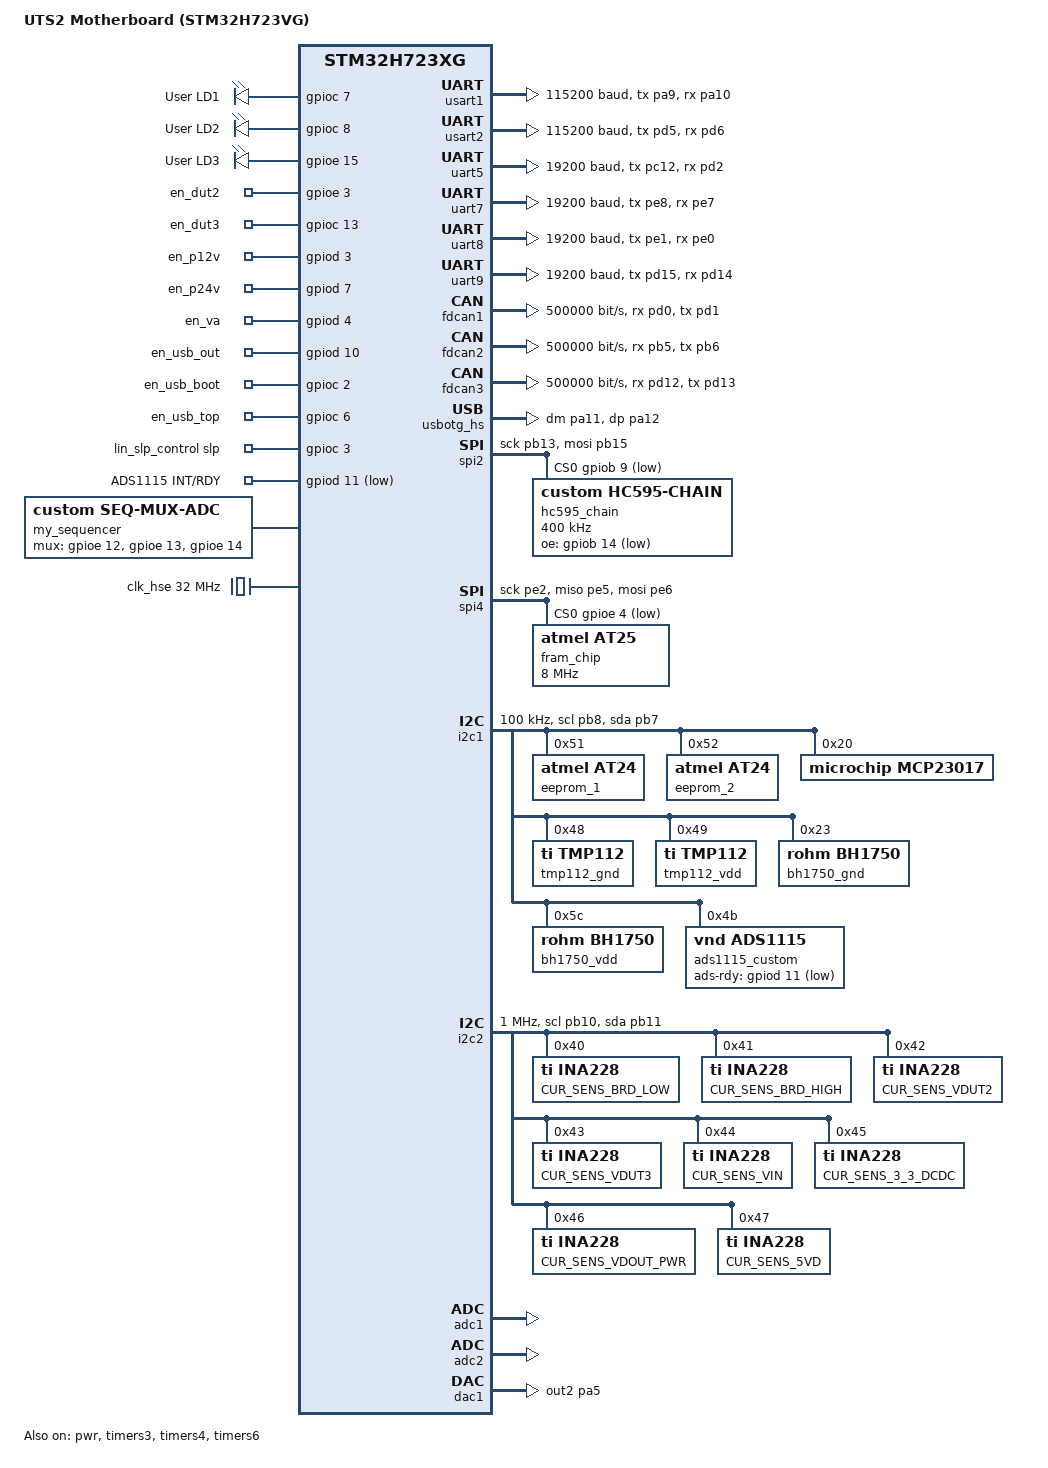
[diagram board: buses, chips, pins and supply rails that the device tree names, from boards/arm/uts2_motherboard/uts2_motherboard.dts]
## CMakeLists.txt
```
# SPDX-License-Identifier: Apache-2.0

cmake_minimum_required(VERSION 3.20.0)


list(APPEND DTS_ROOT ${CMAKE_CURRENT_SOURCE_DIR})

find_package(Zephyr REQUIRED HINTS $ENV{ZEPHYR_BASE})
project(uts2_work)

include(${ZEPHYR_BASE}/samples/subsys/usb/common/common.cmake)

target_compile_definitions(app PRIVATE 
    USE_FULL_ERROR_LIST=1
)

if(BOARD STREQUAL "uts2_motherboard")
    add_subdirectory(src/uts2)
elseif(BOARD STREQUAL "iglax_x2")
   # add_subdirectory(src/iglax2)
endif()

target_sources(app PRIVATE 
              
    src/main.c  
     ${APP_SOURCES} 
)
```

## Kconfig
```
# Copyright (c) 2023 Nordic Semiconductor ASA
# SPDX-License-Identifier: Apache-2.0

# Source common USB sample options used to initialize new experimental USB
# device stack. The scope of these options is limited to USB samples in project
# tree, you cannot use them in your own application.
source "samples/subsys/usb/common/Kconfig.sample_usbd"

source "Kconfig.zephyr"

source "$(APPLICATION_SOURCE_DIR)/drivers/seq_mux_adc/Kconfig"
```

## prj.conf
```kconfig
# ==============================================================================
# 1. ZBUS и K_POLL
# ==============================================================================
CONFIG_POLL=y
CONFIG_ZBUS=y
CONFIG_ZBUS_RUNTIME_OBSERVERS=y

CONFIG_GPIO=y
CONFIG_PINCTRL=y
CONFIG_PINCTRL_DYNAMIC=y
# ==============================================================================
# 8. ОТЛАДКА, МОНИТОРИНГ ПОТОКОВ И СТАТИСТИКА (Debug & Profiling)
# ==============================================================================
CONFIG_DEBUG_OPTIMIZATIONS=n
CONFIG_SPEED_OPTIMIZATIONS=y
CONFIG_DEBUG_THREAD_INFO=y
CONFIG_STACK_USAGE=y

CONFIG_THREAD_MONITOR=y             # Разрешает ядру отслеживать список потоков
CONFIG_THREAD_NAME=y                # Имена потоков
CONFIG_THREAD_RUNTIME_STATS=y       # Статистика реального времени
CONFIG_SCHED_THREAD_USAGE=y         # Подсчет времени работы потоков на CPU
CONFIG_SCHED_THREAD_USAGE_ALL=y     # Собирает общую загрузку системы
CONFIG_THREAD_NAME=y

CONFIG_HWINFO=y
```

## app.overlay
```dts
/*
 * Copyright (c) 2021 Nordic Semiconductor ASA
 *
 * SPDX-License-Identifier: Apache-2.0
 */
#include <zephyr/dt-bindings/adc/adc.h>
#include <zephyr/dt-bindings/dma/stm32_dma.h>
#include <zephyr/dt-bindings/pinctrl/stm32-pinctrl.h>
#include "src/board_define.h"

/ {
    chosen {
        zephyr,console = &cdc_acm_uart0;   /* ← Вот эта строка! */
        zephyr,shell-uart = &cdc_acm_uart1;
    };

     my_sequencer: my_sequencer {
        compatible = "custom,seq-mux-adc";
        
        /* 
         * Передаем ссылки на аппаратные блоки таймера и АЦП.
         * Это избавляет наш Си-код драйвера от хардкода.
         */
        adc-dev = <&adc3>;
        timer-dev = <&timers3>;

        /* 
         * Настройка каналов DMA:
         * 1. DMA1 Stream 0: Переключение пинов мультиплексора (Слот 27, TIM3_UP)
         * 2. DMA1 Stream 1: Опрос АЦП3 в циклическом режиме по кругу (Слот 115, ADC3)
         */
        dmas = <&dmamux1 0 23 0>,
               <&dmamux1 1 115 0>;
        dma-names = "seq_dma", "adc_dma";

        /* Ссылка на аппаратный pinctrl управляющих пинов */
        mux-gpios = <&gpiob 0 GPIO_ACTIVE_HIGH>,
                    <&gpiob 13 GPIO_ACTIVE_HIGH>,
                    <&gpiob 14 GPIO_ACTIVE_HIGH>;

        adc-duration-us = <10000>;     /* T1: время АЦП */
        switch-duration-us = <10000>;  /* T2: время переключения */ 

        status = "okay";
    };
};

&zephyr_udc0 {
    cdc_acm_uart0: cdc_acm_uart0 {
        compatible = "zephyr,cdc-acm-uart";
        label = "СDC Console";
    };
	
    cdc_acm_uart1: cdc_acm_uart1 {
        compatible = "zephyr,cdc-acm-uart";
        label = "CDC_ACM_1";
    };
   

};

&pinctrl {
    /* Создаем отдельный узел для каждого пина */
    mux1_adc_vsense: mux1_adc_vsense {
        pinmux = <STM32_PINMUX(MUX1_ADC_VSENSE_PORT, MUX1_ADC_VSENSE_PIN, ANALOG)>;
    };
    mux2_adc_vsense: mux2_adc_vsense {
        pinmux = <STM32_PINMUX(MUX2_ADC_VSENSE_PORT, MUX2_ADC_VSENSE_PIN, ANALOG)>;
    };
    mux3_adc_vsense: mux3_adc_vsense {
        pinmux = <STM32_PINMUX(MUX3_ADC_VSENSE_PORT, MUX3_ADC_VSENSE_PIN, ANALOG)>;
    };
    mux4_adc_vsense: mux4_adc_vsense {
        pinmux = <STM32_PINMUX(MUX4_ADC_VSENSE_PORT, MUX4_ADC_VSENSE_PIN, ANALOG)>;
    };
    mux5_adc_vsense: mux5_adc_vsense {
        pinmux = <STM32_PINMUX(MUX5_ADC_VSENSE_PORT, MUX5_ADC_VSENSE_PIN, ANALOG)>;
    };
};


/* Ссылка на таймер и его дочерний счетчик раскрывается автоматически */
&SEQ_TIMER_NODELABEL {
    status = "okay";
    st,prescaler = <10000>; 
    counter {
        status = "okay";
    };
};

&gpiob {
    status = "okay";
};

/* Включаем АЦП3 в дереве устройств */
&adc3 {
    status = "okay";
    pinctrl-0 = <&mux1_adc_vsense &mux2_adc_vsense &mux3_adc_vsense &mux4_adc_vsense &mux5_adc_vsense>;
    pinctrl-names = "default";
};

&dma1 {
    status = "okay";
};

&dmamux1 {
    status = "okay";
};

&sram4  {
    status = "okay";
};
&i2c1 {
    status = "okay";
    clock-frequency = <400000>; /* 400 kHz (Fast Mode) */

    CUR_SENS_BRD_LOW: ina228@40 {
        compatible = "ti,ina228";
        reg = <0x40>;
        current-lsb-microamps = <10>;
        rshunt-micro-ohms = <50000>;      /* Закрыто корректно: <50000> */
        status = "okay";
    };

    CUR_SENS_BRD_HIGH: ina228@41 {
        compatible = "ti,ina228";
        reg = <0x41>;
        current-lsb-microamps = <10>;
        rshunt-micro-ohms = <50000>;
        status = "okay";
    };

    CUR_SENS_VDUT2: ina228@42 {
        compatible = "ti,ina228";
        reg = <0x42>;
        rshunt-micro-ohms = <500000>;
        current-lsb-microamps = <1>;
        status = "okay";
    };

    CUR_SENS_VDUT3: ina228@43 {
        compatible = "ti,ina228";
        reg = <0x43>;
        rshunt-micro-ohms = <500000>;
        current-lsb-microamps = <1>;
        status = "okay";
    };

    CUR_SENS_VIN: ina228@44 {
        compatible = "ti,ina228";
        reg = <0x44>;
        current-lsb-microamps = <10>;
        rshunt-micro-ohms = <50000>;
        status = "okay";
    };

    CUR_SENS_3_3_DCDC: ina228@45 {
        compatible = "ti,ina228";
        reg = <0x45>;
        current-lsb-microamps = <10>;
        rshunt-micro-ohms = <50000>;
        status = "okay";
    };

    CUR_SENS_VDOUT_PWR: ina228@46 {
        compatible = "ti,ina228";
        reg = <0x46>;                     /* Исправлено совпадение адресов (было 0x45) */
        current-lsb-microamps = <10>;
        rshunt-micro-ohms = <50000>;
        status = "okay";
    };

    CUR_SENS_5VD: ina228@47 {
        compatible = "ti,ina228";
        reg = <0x47>;
        current-lsb-microamps = <10>;
        rshunt-micro-ohms = <50000>;
        status = "okay";
    };
};

&spi1 {
    status = "okay";
    pinctrl-0 = <&spi1_sck_pa5 &spi1_mosi_pa7>;
    pinctrl-names = "default";
    cs-gpios = <&gpioa 4 GPIO_ACTIVE_LOW>;      // Пин защелки Latch (ST_CP)

    hc595_chain: hc595-chain@0 {
        compatible = "vnd,spi-device"; // стандартный виртуальный SPI-узел Zephyr
        reg = <0>;
        spi-max-frequency = <10000000>;
    };
};
/ {
    /* zephyr,user — это стандартный узел для разрозненных пользовательских GPIO [1] */
    zephyr,user {
        oe-gpios = <&gpioa 3 GPIO_ACTIVE_LOW>;
    };
};
```

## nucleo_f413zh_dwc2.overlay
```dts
/*
 * Copyright (c) 2023 Nordic Semiconductor ASA
 *
 * SPDX-License-Identifier: Apache-2.0
 */

/delete-node/ &zephyr_udc0;

/ {
	soc {
		dwc2_fsotg0: usb@50000000 {
			compatible = "st,stm32f4-fsotg", "snps,dwc2";
			reg = <0x50000000 0x40000>;
			interrupts = <67 0>;
			interrupt-names = "fsotg";
			clocks = <&rcc STM32_CLOCK_BUS_AHB2 0x00000080>,
				 <&rcc STM32_SRC_PLL_Q NO_SEL>;
			num-out-eps = <6>;
			num-in-eps = <6>;
			ghwcfg1 = <0x00000000>;
			ghwcfg2 = <0x229ed520>;
			ghwcfg4 = <0x17f08030>;
			status = "disabled";
		};
	};
};

zephyr_udc0: &dwc2_fsotg0 {
	pinctrl-0 = <&usb_otg_fs_dm_pa11 &usb_otg_fs_dp_pa12>;
	pinctrl-names = "default";
	status = "okay";

	cdc_acm_uart0 {
		compatible = "zephyr,cdc-acm-uart";
	};
};

/ {
    chosen {
        zephyr,console = &cdc_acm_uart0;
    };
};
```

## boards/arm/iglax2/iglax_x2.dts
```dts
/*
 * Copyright (c) 2020 Thomas Stranger
 *
 * SPDX-License-Identifier: Apache-2.0
 */

/dts-v1/;
#include <st/f4/stm32f413Xg.dtsi>
#include <st/f4/stm32f413v(g-h)tx-pinctrl.dtsi>
#include <zephyr/dt-bindings/input/input-event-codes.h>

/ {
	model = "STMicroelectronics STM32F413VG board";
	compatible = "st,igla-x2";

	chosen {	
		zephyr,sram = &sram0;
		zephyr,flash = &flash0;
	};

	transistor_inputs: transistor-inputs {
		compatible = "gpio-keys";
		status = "okay";

		gray_in: gray_in {
			gpios = <&gpioe 4 (GPIO_ACTIVE_LOW | GPIO_PULL_UP)>;
			label = "Transistor Input 1";
		};

		ign_in: ign_in {
			gpios = <&gpioe 14 (GPIO_ACTIVE_LOW | GPIO_PULL_UP)>;
			label = "Transistor Input 1";
		};

		in_ch3: in_ch3 {
			gpios = <&gpioe 12 (GPIO_ACTIVE_LOW | GPIO_PULL_UP)>;
			label = "Transistor Input 2";
		};

		in_ch4: in_ch4 {
			gpios = <&gpioe 13 (GPIO_ACTIVE_LOW | GPIO_PULL_UP)>;
			label = "Transistor Input 2";
		};
	};

	dout_contorl: dout_contorl {
		compatible = "gpio-leds";

		od1: od1 {
			gpios = <&gpioe 15 GPIO_ACTIVE_HIGH>;
		};
		od2: od2 {
			gpios = <&gpiod 13 GPIO_ACTIVE_HIGH>;
		};
		od3: od3 {
			gpios = <&gpiod 15 GPIO_ACTIVE_HIGH>;
		};
		od4: od4 {
			gpios = <&gpiod 14 GPIO_ACTIVE_HIGH>;
		};
		od5: od5 {
			gpios = <&gpioe 6 GPIO_ACTIVE_HIGH>;
		};
		od6: od6 {
			gpios = <&gpiob 6 GPIO_ACTIVE_HIGH>;
		};
		od7: od7 {
			gpios = <&gpiod 7 GPIO_ACTIVE_HIGH>;
		};
		od8: od8 {
			gpios = <&gpiod 6 GPIO_ACTIVE_HIGH>;
		};
		od9: od9 {
			gpios = <&gpioe 5 GPIO_ACTIVE_HIGH>;
		};
		od10: od10 {
			gpios = <&gpioa 4 GPIO_ACTIVE_HIGH>;
		};
		od11: od11 {
			gpios = <&gpioa 5 GPIO_ACTIVE_HIGH>;
		};
		pd_on_in3: pd_on_in3 {
			gpios = <&gpioe 8 GPIO_ACTIVE_HIGH>;
		};
		pd_on_in4: pd_on_in4 {
			gpios = <&gpioe 9 GPIO_ACTIVE_HIGH>;
		};
		out_gate: out_gate {
			gpios = <&gpioe 7 GPIO_ACTIVE_HIGH>;
		};
		lin1_pullup: lin1_pullup {
			gpios = <&gpioe 0 GPIO_ACTIVE_HIGH>;
		};
		lin2_pullup: lin2_pullup {
			gpios = <&gpioe 1 GPIO_ACTIVE_HIGH>;
		};
		lin_sleep: lin_sleep {
			gpios = <&gpioe 2 GPIO_ACTIVE_HIGH>;
		};
		lin_break: lin_break {
			gpios = <&gpioe 3 GPIO_ACTIVE_HIGH>;
		};
		can1_stb: can1_stb {
			gpios = <&gpiod 4 GPIO_ACTIVE_HIGH>;
		};
		can2_stb: can2_stb {
			gpios = <&gpiod 0 GPIO_ACTIVE_HIGH>;
		};
		can3_stb: can3_stb {
			gpios = <&gpioe 11 GPIO_ACTIVE_HIGH>;
		};
	};
};

&clk_hsi {
	status = "okay";
};

/* 1. Настройка внешнего кварца (HSE) */
&clk_hse {
	clock-frequency = <DT_FREQ_M(16)>;
	status = "okay";
};

/* 2. Конфигурация главного умножителя частоты (PLL) */
&pll {
	div-m = <8>;
	mul-n = <72>;
	div-p = <2>;
	div-q = <3>;
	clocks = <&clk_hsi>;
	status = "okay";
};

/* 3. Конфигурация системных шин в блоке RCC */
&rcc {
	clocks = <&pll>;
	clock-frequency = <DT_FREQ_M(72)>;
	ahb-prescaler = <1>;
	apb1-prescaler = <2>;
	apb2-prescaler = <1>;
};

&clk48 {
	status = "okay";
};

&iwdg {
	status = "disabled";
};

/* Привязываем стандартную метку нового USB-стека к аппаратному контроллеру */
zephyr_udc0: &usbotg_fs {
    status = "okay";
    pinctrl-0 = <&usb_otg_fs_dm_pa11 &usb_otg_fs_dp_pa12>;
    pinctrl-names = "default";

    /* Определяем виртуальный UART для CDC ACM внутри контроллера */
    cdc_acm_uart0: cdc_acm_uart0 {
        compatible = "zephyr,cdc-acm-uart";
        label = "CDC_ACM_0";
    };
};

&spi2 {
    status = "okay";
    /* Настраиваем пины: SCK (PA5), MISO (PA6), MOSI (PA7) */
    pinctrl-0 = <&spi2_sck_pb10 &spi2_miso_pb14 &spi2_mosi_pb15>;
    pinctrl-names = "default";
    
    /* PA4 используем как программный выбор кристалла CS (Chip Select) */
    cs-gpios = <&gpiob 12 GPIO_ACTIVE_LOW>;

    lis3dh: lis3dh@0 {
        compatible = "st,lis2dh"; /* Zephyr управляет LIS3DH через драйвер LIS2DH */
        reg = <0>;
        spi-max-frequency = <10000000>; /* Максимальная частота SPI для датчика (10 МГц) */
        
        /* Указываем пин прерывания INT1 на PD2 */
        irq-gpios = <&gpioa 15 GPIO_ACTIVE_HIGH>; 
        label = "LIS3DH";
    };
};
```

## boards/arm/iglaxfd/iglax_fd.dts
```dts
/*
 * Copyright (c) 2020 Thomas Stranger
 *
 * SPDX-License-Identifier: Apache-2.0
 */

/dts-v1/;
#include <st/g0/stm32g0b1Xe.dtsi>
#include <st/g0/stm32g0b1r(b-c-e)tx-pinctrl.dtsi>
#include <zephyr/dt-bindings/input/input-event-codes.h>



/ {
		model = "IGLA_X2 (STM32F413)";
	compatible = "st,igla_x2";

	chosen {
		zephyr,console = &usart2;
		zephyr,shell-uart = &usart2;
		zephyr,uart-mcumgr = &usart2;
		zephyr,sram = &sram0;
		zephyr,flash = &flash0;
		zephyr,canbus = &fdcan1;
	};

	my_custom_inputs {
		/* Вход 1: Статический GND (PC13) */
		din_1 {
			compatible = "zephyr,discrete-input";
			gpios = <&gpioc 13 GPIO_ACTIVE_LOW>;
			input-type = "active-high";
			param-id = "din1";
			param-cfg-id = "din1_config";
		};

		/* Вход 2: Статический VDD (PC14) */
		din_2 {
			compatible = "zephyr,discrete-input";
			gpios = <&gpioc 14 GPIO_ACTIVE_LOW>;
			input-type = "active-high";
			param-id = "din2";
			param-cfg-id = "din2_config";
		};

		/* Вход 3: Динамический (PC15), управляемый пином PD3 */
		din_3 {
			compatible = "zephyr,discrete-input";
			gpios = <&gpioc 15 0>;
			input-type = "configurable-low";
			ctrl-gpios = <&gpiod 3 GPIO_ACTIVE_LOW>;
			param-id = "din3";
			param-cfg-id = "din3_config";
		};
	};

	my_custom_outputs {
		dout_1 {
			compatible = "zephyr,discrete-output";
			gpios = <&gpiob 5 GPIO_ACTIVE_HIGH>;
			param-id = "dout1";
		};
		dout_2 {
			compatible = "zephyr,discrete-output";
			gpios = <&gpiob 6 GPIO_ACTIVE_HIGH>;
			param-id = "dout2";
		};
		dout_3 {
			compatible = "zephyr,discrete-output";
			gpios = <&gpiob 7 GPIO_ACTIVE_HIGH>;
			param-id = "dout3";
		};
	};

	/* Виртуальный шлюз-мост для CAN-каналов */
	my_can_instances {
		can_1 {
			compatible = "zephyr,can-instance";
			can-dev = <&fdcan1>;
			stb-gpios = <&gpioa 15 GPIO_ACTIVE_LOW>;
			param-tx-id = "can1_tx_frame";
			param-rx-id = "can1_rx_frame";
			param-status-id = "can1_status";
			param-ctrl-id = "can1_ctrl";
			param-filter-id = "can1_filter";
			param-stb-id = "can1_stb";
		};

		can_2 {
			compatible = "zephyr,can-instance";
			can-dev = <&fdcan2>;
			stb-gpios = <&gpiob 0 GPIO_ACTIVE_LOW>;
			param-tx-id = "can2_tx_frame";
			param-rx-id = "can2_rx_frame";
			param-status-id = "can2_status";
			param-ctrl-id = "can2_ctrl";
			param-filter-id = "can2_filter";
			param-stb-id = "can2_stb";
		};
	};
};

/* 1. Настройка внешнего кварца (HSE = 16 МГц) */
&clk_hse {
	clock-frequency = <DT_FREQ_M(16)>;
	status = "okay";
};

/* 2. Конфигурация главного умножителя частоты (PLL) */
&pll {
	clocks = <&clk_hse>;
	/* f(VCO) = 16 МГц / 2 * 16 = 128 МГц */
	div-m = <2>;
	mul-n = <16>;
	div-r = <2>; /* PLLR (SYSCLK) = 128 / 2 = 64 МГц */
	div-q = <2>; /* PLLQ (FDCAN)  = 128 / 2 = 64 МГц */
	div-p = <2>; /* PLLP          = 128 / 2 = 64 МГц */
	status = "okay";
};

/* 3. Конфигурация системных шин в блоке RCC */
&rcc {
	clocks = <&pll>;
	clock-frequency = <DT_FREQ_M(64)>;
	ahb-prescaler = <1>;
	apb1-prescaler = <1>;
};

/* 4. Включаем USART2 для консоли и шелла (проверьте ваши пины!) */
&usart2 {
	pinctrl-0 = <&usart2_tx_pa2 &usart2_rx_pa3>;
	pinctrl-names = "default";
	current-speed = <115200>;
	status = "okay";
};

&iwdg {
	status = "disabled";
};

&timers3 {
	st,prescaler = <10000>;
	status = "okay";

	pwm3: pwm {
		status = "okay";
		pinctrl-0 = <&tim3_ch1_pb4>;
		pinctrl-names = "default";
	};
};

&timers15 {
	st,prescaler = <10000>;
	status = "okay";

	pwm15: pwm {
		status = "okay";
		pinctrl-0 = <&tim15_ch1_pb14>;
		pinctrl-names = "default";
	};
};

&spi1 {
	status = "okay";
	/* SCK (PA1), MISO (PA6), MOSI (PA7), CS (PA4) */
	pinctrl-0 = <&spi1_sck_pa1 &spi1_miso_pa6 &spi1_mosi_pa7>;
	pinctrl-names = "default";
	cs-gpios = <&gpioa 4 GPIO_ACTIVE_LOW>;

	lis3dh: lis3dh@0 {
		compatible = "st,lis2dh";
		reg = <0>;
		spi-max-frequency = <10000000>;
		irq-gpios = <&gpiod 2 GPIO_ACTIVE_HIGH>;
		label = "LIS3DH";
	};
};

&adc1 {
	status = "okay";
	pinctrl-0 = <&adc1_in9_pb1>;
	pinctrl-names = "default";
};

&die_temp {
	status = "okay";
};

&fdcan1 {
	status = "okay";
	pinctrl-0 = <&fdcan1_rx_pd0 &fdcan1_tx_pd1>;
	pinctrl-names = "default";
	bitrate = <500000>;
	clocks = <&rcc STM32_CLOCK_BUS_APB1 0x00001000>,
		 <&rcc STM32_SRC_PLL_Q FDCAN_SEL(1)>;
};

&fdcan2 {
	status = "okay";
	pinctrl-0 = <&fdcan2_rx_pb12 &fdcan2_tx_pb13>;
	pinctrl-names = "default";
	bitrate = <500000>;
	clocks = <&rcc STM32_CLOCK_BUS_APB1 0x00001000>,
		 <&rcc STM32_SRC_PLL_Q FDCAN_SEL(1)>;
};









&flash0 {
	partitions {
		compatible = "fixed-partitions";
		#address-cells = <1>;
		#size-cells = <1>;

		boot_partition: partition@0 {
			label = "mcuboot";
			reg = <0x00000000 DT_SIZE_K(48)>;
			read-only;
		};

		slot0_partition: partition@c000 {
			label = "image-0";
			reg = <0x0000c000 DT_SIZE_K(200)>;
		};

		slot1_partition: partition@3e000 {
			label = "image-1";
			reg = <0x0003e000 DT_SIZE_K(200)>;
		};

		/* final 64KiB reserved for app storage partition */
		storage_partition: partition@70000 {
			label = "storage";
			reg = <0x00070000 DT_SIZE_K(64)>;
		};
	};
};



&vref {
	status = "okay";
};

&vbat {
	status = "okay";
};
```

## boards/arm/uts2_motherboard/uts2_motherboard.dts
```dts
/*
 * Copyright (c) 2020 Alexander Kozhinov <ak.alexander.kozhinov@gmail.com>
 * SPDX-License-Identifier: Apache-2.0
 */

/dts-v1/;
#include <st/h7/stm32h723Xg.dtsi>
#include <st/h7/stm32h723vgtx-pinctrl.dtsi>

/*
 * WARNING:
 * JP6 and SB72 must be ON when using Ethernet.
 */

/ {
	model = "UTS2 Motherboard (STM32H723VG)";
	compatible = "st,uts2-motherboard";

	chosen {
		zephyr,console = &usart1;
		/* zephyr,shell-uart = &usart1; */
		zephyr,dtcm = &dtcm;
		zephyr,sram = &sram0;
		zephyr,flash = &flash0;	
		zephyr,code-partition = &flash0;
	};

	aliases {
		led0 = &green_led;
		led1 = &yellow_led;
		led2 = &red_led;
		uart-detect = &usart2;
		fram0 = &fram_chip;
		dac-timer = &timers6;
		adsint = &ads_int_pin;
	};

	/* Светодиоды индикации платы */
	leds: leds {
		compatible = "gpio-leds";

		green_led: led_0 {
			gpios = <&gpioc 7 GPIO_ACTIVE_HIGH>;
			label = "User LD1";
		};

		yellow_led: led_1 {
			gpios = <&gpioc 8 GPIO_ACTIVE_HIGH>;
			label = "User LD2";
		};

		red_led: led_2 {
			gpios = <&gpioe 15 GPIO_ACTIVE_HIGH>;
			label = "User LD3";
		};
	};

	/* Управление ключами питания нагрузки и интерфейсов */
	enable_control_switch: enable_control_switch {
		compatible = "gpio-leds";

		/* Пин включения питания метки №1 */
		en_dut2: en_1 {
			gpios = <&gpioe 3 GPIO_ACTIVE_HIGH>;
		};
		/* Пин включения питания метки №2 */
		en_dut3: en_2 {
			gpios = <&gpioc 13 GPIO_ACTIVE_HIGH>;
		};
		/* Пин включения питания +12В */
		en_p12v: en_3 {
			gpios = <&gpiod 3 GPIO_ACTIVE_HIGH>;
		};
		/* Пин включения питания +24В */
		en_p24v: en_4 {
			gpios = <&gpiod 7 GPIO_ACTIVE_HIGH>;
		};
		/* Пин питания аналоговых буферов */
		en_va: en_5 {
			gpios = <&gpiod 4 GPIO_ACTIVE_HIGH>;
		};
		/* Пин питания интерфейсной платы USB */
		en_usb_out: en_6 {
			gpios = <&gpiod 10 GPIO_ACTIVE_HIGH>;
		};
		/* Пин питания верхней части разъема USB */
		en_usb_boot: en_7 {
			gpios = <&gpioc 2 GPIO_ACTIVE_HIGH>;
		};
		/* Пин питания нижней части разъема USB */
		en_usb_top: en_8 {
			gpios = <&gpioc 6 GPIO_ACTIVE_HIGH>;
		};
	};

	/* Пин перевода трансиверов LIN в рабочий режим (Wakeup) */
	lin_slp_control {
		compatible = "zephyr,user";
		slp-gpios = <&gpioc 3 GPIO_ACTIVE_HIGH>;
	};

	/* Внешнее прерывание RDY от АЦП ADS1115 */
	ads_interrupt_node {
		compatible = "gpio-keys";
		ads_int_pin: ads_int_pin {
			gpios = <&gpiod 11 (GPIO_ACTIVE_LOW | GPIO_PULL_UP)>;
			label = "ADS1115 INT/RDY";
		};
	};

	/* Кастомный драйвер фонового сбора АЦП2 через таймер TIM4 */
	scan_adc: scan_adc {
		compatible = "custom,scan-cont-adc";
		adc-dev = <&adc2>;
		timer-dev = <&timers4>;
		channel-count = <8>;
		dmas = <&dmamux1 2 10 0>;
		dma-names = "adc_dma";
		adc-duration-us = <1000>;
		status = "okay";
	};

	/* Кастомный драйвер секвенсора мультиплексора на АЦП1 через таймер TIM3 */
	my_sequencer: my_sequencer {
		compatible = "custom,seq-mux-adc";
		adc-dev = <&adc1>;
		timer-dev = <&timers3>;
		dmas = <&dmamux1 0 23 0>,
		       <&dmamux1 1 9  0>;
		dma-names = "seq_dma", "adc_dma";
		mux-gpios = <&gpioe 12 GPIO_ACTIVE_HIGH>,
		            <&gpioe 13 GPIO_ACTIVE_HIGH>,
		            <&gpioe 14 GPIO_ACTIVE_HIGH>;
		adc-duration-us = <60>;
		switch-duration-us = <60>;
		status = "okay";
	};
};

/* ====================================================================
 *  ПИТАНИЕ И ТАКТИРОВАНИЕ (384 МГц от HSE 32 МГц)
 * ==================================================================== */

&pwr {
	power-supply = "ldo";
	status = "okay";
};

&clk_hse {
	clock-frequency = <32000000>; /* 32 MHz */
	status = "okay";
	/* hse-bypass; */
};

&clk_hsi {
	hsi-div = <1>;
	status = "okay";
};

&clk_hsi48 {
	status = "okay";
};

&clk_lsi {
	status = "okay";
};

&clk_lse {
	status = "disabled";
};

&pll {
	div-m = <2>;
	mul-n = <48>;
	div-p = <2>;
	div-q = <8>;
	div-r = <2>;
	fracn = <0>;
	clocks = <&clk_hse>;
	status = "okay";
};

&pll2 {
	div-m = <2>;
	mul-n = <12>;
	div-p = <2>;
	div-q = <2>;
	div-r = <2>;
	clocks = <&clk_hse>;
	status = "okay";
};

&rcc {
	clocks = <&pll>;
	clock-frequency = <384000000>;
	d1cpre = <1>;  /* CPU:  384 MHz */
	hpre = <2>;    /* HCLK: 192 MHz */
	d1ppre = <2>;  /* APB3: 96 MHz */
	d2ppre1 = <2>; /* APB1: 96 MHz */
	d2ppre2 = <2>; /* APB2: 96 MHz */
	d3ppre = <2>;  /* APB4: 96 MHz */
};

/* ====================================================================
 *  ПОРТЫ GPIO, ПАМЯТЬ И СИСТЕМНЫЙ DMA
 * ==================================================================== */

&gpioa { status = "okay"; };
&gpiob { status = "okay"; };
&gpioc { status = "okay"; };
&gpiod { status = "okay"; };
&gpioe { status = "okay"; };

&dma1        { status = "okay"; };
&dmamux1     { status = "okay"; };
&sram4       { status = "okay"; };
&backup_sram { status = "okay"; };

/* ====================================================================
 *  АППАРАТНЫЙ PINCTRL ДЛЯ ПЕРИФЕРИИ
 * ==================================================================== */

&pinctrl {
	/* Аналоговые входы мультиплексора */
	mux1_adc_vsense: mux1_adc_vsense {
		pinmux = <STM32_PINMUX('A', 0, ANALOG)>;
	};
	mux2_adc_vsense: mux2_adc_vsense {
		pinmux = <STM32_PINMUX('A', 1, ANALOG)>;
	};
	mux3_adc_vsense: mux3_adc_vsense {
		pinmux = <STM32_PINMUX('A', 2, ANALOG)>;
	};
	mux4_adc_vsense: mux4_adc_vsense {
		pinmux = <STM32_PINMUX('A', 3, ANALOG)>;
	};
	mux5_adc_vsense: mux5_adc_vsense {
		pinmux = <STM32_PINMUX('A', 4, ANALOG)>;
	};

	/* USART1 (Консоль отладки) */
	usart1_tx_pa9: usart1_tx_pa9 {
		pinmux = <STM32_PINMUX('A', 9, AF7)>;
		bias-pull-up;
	};
	usart1_rx_pa10: usart1_rx_pa10 {
		pinmux = <STM32_PINMUX('A', 10, AF7)>;
	};

	/* SPI4 (Память FRAM на порту E) */
	spi4_sck_pe2: spi4_sck_pe2 {
		pinmux = <STM32_PINMUX('E', 2, AF5)>;
		bias-pull-down;
	};
	spi4_miso_pe5: spi4_miso_pe5 {
		pinmux = <STM32_PINMUX('E', 5, AF5)>;
		bias-pull-down;
	};
	spi4_mosi_pe6: spi4_mosi_pe6 {
		pinmux = <STM32_PINMUX('E', 6, AF5)>;
		bias-pull-down;
	};
};

/* Подтягивающие резисторы для шин I2C */
&i2c1_scl_pb8  { drive-open-drain; bias-pull-up; };
&i2c1_sda_pb7  { drive-open-drain; bias-pull-up; };
&i2c2_scl_pb10 { drive-open-drain; bias-pull-up; };
&i2c2_sda_pb11 { drive-open-drain; bias-pull-up; };

/* ====================================================================
 *  ИНТЕРФЕЙСЫ СВЯЗИ: UART
 * ==================================================================== */

&usart1 {
	pinctrl-0 = <&usart1_tx_pa9 &usart1_rx_pa10>;
	pinctrl-names = "default";
	current-speed = <115200>;
	tx-rx-swap;
	status = "okay";
};

uart_detect: &usart2 {
	pinctrl-0 = <&usart2_tx_pd5 &usart2_rx_pd6>;
	pinctrl-names = "default";
	current-speed = <115200>;
	status = "okay";
};

&uart5 {
	current-speed = <19200>;
	pinctrl-0 = <&uart5_tx_pc12 &uart5_rx_pd2>;
	pinctrl-names = "default";
	status = "okay";
};

&uart7 {
	current-speed = <19200>;
	pinctrl-0 = <&uart7_tx_pe8 &uart7_rx_pe7>;
	pinctrl-names = "default";
	status = "okay";
};

&uart8 {
	current-speed = <19200>;
	pinctrl-0 = <&uart8_tx_pe1 &uart8_rx_pe0>;
	pinctrl-names = "default";
	status = "okay";
};

&uart9 {
	current-speed = <19200>;
	pinctrl-0 = <&uart9_tx_pd15 &uart9_rx_pd14>;
	pinctrl-names = "default";
	status = "okay";
};

/* ====================================================================
 *  ИНТЕРФЕЙСЫ СВЯЗИ: FDCAN
 * ==================================================================== */

&fdcan1 {
	pinctrl-0 = <&fdcan1_rx_pd0 &fdcan1_tx_pd1>;
	pinctrl-names = "default";
	bitrate = <500000>;
	status = "okay";
};

&fdcan2 {
	pinctrl-0 = <&fdcan2_rx_pb5 &fdcan2_tx_pb6>;
	pinctrl-names = "default";
	bitrate = <500000>;
	status = "okay";
};

&fdcan3 {
	pinctrl-0 = <&fdcan3_rx_pd12 &fdcan3_tx_pd13>;
	pinctrl-names = "default";
	bitrate = <500000>;
	status = "okay";
};

/* ====================================================================
 *  ИНТЕРФЕЙС USB (CDC ACM)
 * ==================================================================== */

zephyr_udc0: &usbotg_hs {
	pinctrl-0 = <&usb_otg_hs_dm_pa11 &usb_otg_hs_dp_pa12>;
	pinctrl-names = "default";
	/delete-property/ vbus-gpios;
	status = "okay";

	cdc_acm_uart0: cdc_acm_uart0 {
		compatible = "zephyr,cdc-acm-uart";
	};
};

/* ====================================================================
 *  ИНТЕРФЕЙСЫ SPI
 * ==================================================================== */

&spi2 {
	pinctrl-0 = <&spi2_sck_pb13 &spi2_mosi_pb15>;
	pinctrl-names = "default";
	cs-gpios = <&gpiob 9 GPIO_ACTIVE_LOW>;
	status = "okay";

	hc595_chain: hc595-chain@0 {
		compatible = "custom,hc595-chain";
		reg = <0>;
		spi-max-frequency = <400000>;
		chain-length = <5>;
		oe-gpios = <&gpiob 14 GPIO_ACTIVE_LOW>;
	};
};

&spi4 {
	pinctrl-0 = <&spi4_sck_pe2 &spi4_miso_pe5 &spi4_mosi_pe6>;
	pinctrl-names = "default";
	cs-gpios = <&gpioe 4 GPIO_ACTIVE_LOW>;
	status = "okay";

	fram_chip: mb85rs64@0 {
		compatible = "atmel,at25";
		reg = <0>;
		spi-max-frequency = <8000000>;
		size = <8192>;
		pagesize = <1>;
		address-width = <16>;
		timeout = <5>;
	};
};

/* ====================================================================
 *  ИНТЕРФЕЙСЫ I2C
 * ==================================================================== */

&i2c1 {
	pinctrl-0 = <&i2c1_scl_pb8 &i2c1_sda_pb7>;
	pinctrl-names = "default";
	scl-gpios = <&gpiob 8 (GPIO_ACTIVE_HIGH | GPIO_OPEN_DRAIN)>;
	sda-gpios = <&gpiob 7 (GPIO_ACTIVE_HIGH | GPIO_OPEN_DRAIN)>;
	clock-frequency = <I2C_BITRATE_STANDARD>;
	status = "okay";

	eeprom_1: eeprom@51 {
		compatible = "atmel,at24";
		reg = <0x51>;
		size = <256>;
		pagesize = <16>;
		address-width = <8>;
		timeout = <10>;
		status = "okay";
	};

	eeprom_2: eeprom@52 {
		compatible = "atmel,at24";
		reg = <0x52>;
		size = <256>;
		pagesize = <16>;
		address-width = <8>;
		timeout = <10>;
		status = "okay";
	};

	mcp23017: mcp23017@20 {
		compatible = "microchip,mcp23017";
		reg = <0x20>;
		status = "okay";
		gpio-controller;
		#gpio-cells = <2>;
		ngpios = <16>;
	};

	tmp112_gnd: tmp112@48 {
		compatible = "ti,tmp112";
		reg = <0x48>;
		status = "okay";
	};

	tmp112_vdd: tmp112@49 {
		compatible = "ti,tmp112";
		reg = <0x49>;
		status = "okay";
	};

	bh1750_gnd: bh1750@23 {
		compatible = "rohm,bh1750";
		reg = <0x23>;
		status = "okay";
	};

	bh1750_vdd: bh1750@5c {
		compatible = "rohm,bh1750";
		reg = <0x5c>;
		status = "okay";
	};

	ads1115_custom: ads1115@4b {
		compatible = "vnd,ads1115";
		reg = <0x4b>;
		status = "okay";
		ads-sps = <16>;
		ads-rdy = <&gpiod 11 (GPIO_ACTIVE_LOW | GPIO_PULL_UP)>;
	};
};

&i2c2 {
	pinctrl-0 = <&i2c2_scl_pb10 &i2c2_sda_pb11>;
	pinctrl-names = "default";
	scl-gpios = <&gpiob 10 (GPIO_ACTIVE_HIGH | GPIO_OPEN_DRAIN)>;
	sda-gpios = <&gpiob 11 (GPIO_ACTIVE_HIGH | GPIO_OPEN_DRAIN)>;
	clock-frequency = <I2C_BITRATE_FAST_PLUS>;
	status = "okay";

	timings = <96000000 I2C_BITRATE_STANDARD  0x20D09BEE>,
	          <96000000 I2C_BITRATE_FAST      0x00A0329E>,
	          <96000000 I2C_BITRATE_FAST_PLUS 0x00501043>,
	          <120000000 I2C_BITRATE_STANDARD  0x20F091E5>,
	          <120000000 I2C_BITRATE_FAST      0x00C03DC6>,
	          <120000000 I2C_BITRATE_FAST_PLUS 0x00601453>,
	          <137500000 I2C_BITRATE_STANDARD  0x30C082CE>,
	          <137500000 I2C_BITRATE_FAST      0x00E047E3>,
	          <137500000 I2C_BITRATE_FAST_PLUS 0x00701760>;

	CUR_SENS_BRD_LOW: ina228@40 {
		compatible = "ti,ina228";
		reg = <0x40>;
		current-lsb-microamps = <10>;
		rshunt-micro-ohms = <50000>;
		adc-mode = "Bus and shunt voltage continuous";
		vbus-conversion-time-us = <280>;
		vshunt-conversion-time-us = <280>;
		avg-count = <1>;
		status = "okay";
	};

	CUR_SENS_BRD_HIGH: ina228@41 {
		compatible = "ti,ina228";
		reg = <0x41>;
		current-lsb-microamps = <10>;
		rshunt-micro-ohms = <50000>;
		adc-mode = "Bus and shunt voltage continuous";
		vbus-conversion-time-us = <280>;
		vshunt-conversion-time-us = <280>;
		avg-count = <1>;
		status = "okay";
	};

	CUR_SENS_VDUT2: ina228@42 {
		compatible = "ti,ina228";
		reg = <0x42>;
		rshunt-micro-ohms = <500000>;
		current-lsb-microamps = <1>;
		adc-mode = "Bus and shunt voltage continuous";
		vbus-conversion-time-us = <280>;
		vshunt-conversion-time-us = <280>;
		avg-count = <1>;
		status = "okay";
	};

	CUR_SENS_VDUT3: ina228@43 {
		compatible = "ti,ina228";
		reg = <0x43>;
		rshunt-micro-ohms = <500000>;
		current-lsb-microamps = <1>;
		adc-mode = "Bus and shunt voltage continuous";
		vbus-conversion-time-us = <280>;
		vshunt-conversion-time-us = <280>;
		avg-count = <1>;
		status = "okay";
	};

	CUR_SENS_VIN: ina228@44 {
		compatible = "ti,ina228";
		reg = <0x44>;
		current-lsb-microamps = <10>;
		rshunt-micro-ohms = <50000>;
		adc-mode = "Bus and shunt voltage continuous";
		vbus-conversion-time-us = <280>;
		vshunt-conversion-time-us = <280>;
		avg-count = <1>;
		status = "okay";
	};

	CUR_SENS_3_3_DCDC: ina228@45 {
		compatible = "ti,ina228";
		reg = <0x45>;
		current-lsb-microamps = <1>;
		rshunt-micro-ohms = <50000>;
		adc-mode = "Bus and shunt voltage continuous";
		vbus-conversion-time-us = <280>;
		vshunt-conversion-time-us = <280>;
		avg-count = <1>;
		status = "okay";
	};

	CUR_SENS_VDOUT_PWR: ina228@46 {
		compatible = "ti,ina228";
		reg = <0x46>;
		current-lsb-microamps = <10>;
		rshunt-micro-ohms = <50000>;
		adc-mode = "Bus and shunt voltage continuous";
		vbus-conversion-time-us = <280>;
		vshunt-conversion-time-us = <280>;
		avg-count = <1>;
		status = "okay";
	};

	CUR_SENS_5VD: ina228@47 {
		compatible = "ti,ina228";
		reg = <0x47>;
		current-lsb-microamps = <10>;
		rshunt-micro-ohms = <50000>;
		adc-mode = "Bus and shunt voltage continuous";
		vbus-conversion-time-us = <280>;
		vshunt-conversion-time-us = <280>;
		avg-count = <1>;
		status = "okay";
	};
};

/* ====================================================================
 *  ТАЙМЕРЫ И АНАЛОГОВАЯ ПЕРИФЕРИЯ (ADC / DAC)
 * ==================================================================== */

&adc1 { status = "okay"; };
&adc2 { status = "okay"; };

&timers3 {
	st,prescaler = <10000>;
	status = "okay";
	counter { status = "okay"; };
};

&timers4 {
	st,prescaler = <10000>;
	status = "okay";
	counter { status = "okay"; };
};

&timers6 {
	status = "okay";
};

&dac1 {
	pinctrl-0 = <&dac1_out2_pa5>;
	pinctrl-names = "default";
	status = "okay";
};
```

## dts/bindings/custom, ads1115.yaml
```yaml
description: Custom ADS1115 ADC driver with interrupt and SPS configuration
compatible: "vnd,ads1115"

# Наследуем базовые правила I2C-устройства
include: [i2c-device.yaml]

properties:
  reg:
    required: true
  ads-rdy:
    type: phandle-array
    required: true
    description: Ready/Interrupt GPIO pin
    specifier-space: gpio
  ads-sps:
    type: int
    required: true
    description: Samples per second
```

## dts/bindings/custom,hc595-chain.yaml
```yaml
description: Custom 74HC595 cascaded chain driver

compatible: "custom,hc595-chain"

include: spi-device.yaml

properties:
  chain-length:
    type: int
    required: true
    description: Number of cascaded 74HC595 shift registers in the chain (e.g. 5)

  oe-gpios:
    type: phandle-array
    required: false
    description: GPIO specifier for the OE (Output Enable) pin (active low).
```

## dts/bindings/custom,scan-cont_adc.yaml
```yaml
description: Custom STM32 Timer-triggered DMA-GPIO-ADC Sequencer Driver

compatible: "custom,scan-cont-adc"

# Используем максимально надежный вертикальный формат списков для импорта
include:
  - base.yaml
  - pinctrl-device.yaml

properties:
  adc-dev:
    type: phandle
    required: true

  timer-dev:
    type: phandle
    required: true
     
  adc-duration-us:
    type: int
    required: true


  channel-count:
    type: int
    required: true
```

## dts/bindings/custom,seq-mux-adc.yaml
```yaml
description: Custom STM32 Timer-triggered DMA-GPIO-ADC Sequencer Driver

compatible: "custom,seq-mux-adc"

# Используем максимально надежный вертикальный формат списков для импорта
include:
  - base.yaml
  - pinctrl-device.yaml

properties:
  adc-dev:
    type: phandle
    required: true

  timer-dev:
    type: phandle
    required: true

  mux-gpios:
    type: phandle-array
    required: true
    description: GPIO specifiers for the 3 multiplexer address lines.
     
  adc-duration-us:
    type: int
    required: true

  switch-duration-us:
    type: int
    required: true
```

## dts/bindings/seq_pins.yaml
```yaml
description: Custom Sequencer Pins Device
compatible: "seq-pins"
include: [base.yaml, pinctrl-device.yaml] 
```

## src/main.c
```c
/*
 * Copyright (c) 2016 Intel Corporation
 *
 * SPDX-License-Identifier: Apache-2.0
 */


int main(void)
{


	return 0;
}
```

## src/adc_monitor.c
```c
#include <zephyr/kernel.h>
#include <zephyr/logging/log.h>
#include "param_server.h"

/* Подключаем наш общий Zbus заголовок */
#include "system_data_bus.h"

LOG_MODULE_REGISTER(adc_mon, LOG_LEVEL_INF);

/* 
 * ОПРЕДЕЛЯЕМ ПОДПИСЧИКА.
 * Это создаст очередь сообщений для нашего монитора.
 */
static const uint8_t const param_names[] = {
    AIN_AO1,
    AIN_AO7,
    AIN_AO13,
    AIN_AVsense1,
    AIN_AO2,
    AIN_AO8,
    AIN_AO14,
    AIN_AVsense2,    
    AIN_AO3,
    AIN_AO9,
    AIN_AO15,
    AIN_AVsense3,        
    AIN_AO4,
    AIN_AO10,
    AIN_AO16,
    AIN_AVsense4,
    AIN_AO5,
    AIN_AO11,
    AIN_AO17,
    AIN_AVsense5,
    AIN_AO6,                    
    AIN_AO12,                
    AIN_AO18,
    AIN_AVsense6,
    AIN_DA11_test1,
    AIN_DA20_test1,
    AIN_DA33_test1,
    AIN_DA44_test1,
    AIN_DA11_test2,
    AIN_DA20_test2,
    AIN_DA33_test2,
    AIN_DA44_test2, 
};


K_THREAD_STACK_DEFINE(monitor_stack, 2048);
static struct k_thread monitor_thread_data;

static void adc_monitor_thread_fn(void *p1, void *p2, void *p3)
{
    ARG_UNUSED(p1);
    ARG_UNUSED(p2);
    ARG_UNUSED(p3);

    LOG_INF("Starting State-Reader ADC Monitor Thread...");

    while (1) {
        /* Опрашиваем Zbus раз в 3 секунды */
        k_msleep(3000);

        int ret = 0;
        PARAM_VAL val_ch0, val_ch1, val_ch2, val_ch3;

        LOG_INF("=== [Zbus State Monitor] 32 Channels Test Pattern ===");
        
        for (int step = 0; step < 8; step++) {
            /* 
             * Запрашиваем 4 канала текущего шага из Zbus.
             * На нечетных позициях (0 и 2) лежит VREF в мВ.
             * На четных позициях (1 и 3) лежит Температура в градусах.
             */

             
            ret  = param_get(param_names[step * 4 + 0], &val_ch0);
            ret  = param_get(param_names[step * 4 + 1], &val_ch1);
            ret  = param_get(param_names[step * 4 + 2], &val_ch2);
            ret  = param_get(param_names[step * 4 + 3], &val_ch3);
            

            if (ret == 0) {
                /*
                 * Извлекаем значения из поля .value.integer нашей общей структуры PARAM_VAL.
                 * На нечетных позициях (ch0, ch2) лежит напряжение (uint32_t).
                 * На четных позициях (ch1, ch3) лежит температура (int32_t).
                 */
                uint32_t vref1 = (uint32_t)val_ch0.value.integer;
                int32_t temp1  = (int32_t)val_ch1.value.integer;
                uint32_t vref2 = (uint32_t)val_ch2.value.integer;
                int32_t temp2  = (int32_t)val_ch3.value.integer;

                LOG_INF("Step %d | VREF: %u mV | Temp: %d C | VREF: %u mV | Temp: %d C",
                        step, vref1, temp1, vref2, temp2);
            } else {
                LOG_WRN("Step %d | Data is not ready yet.", step);
            }
        }
    }
}
/* Функция запуска потока монитора */
int adc_monitor_thread_start(void)
{
    k_thread_create(&monitor_thread_data, monitor_stack, 2048,
                    adc_monitor_thread_fn, NULL, NULL, NULL, 11, 0, K_NO_WAIT);
    return 0;
}
```

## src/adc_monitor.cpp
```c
#include "os.h"
#include <zephyr/logging/log.h>

#include "system_bus_model.h"

LOG_MODULE_REGISTER(adc_mon, LOG_LEVEL_INF);

/**
 * @brief Класс монитора АЦП.
 * Наследуемся от os::task, используя CRTP (передаем сам класс как первый параметр шаблона).
 * Стек 2048 байт зашит в шаблон.
 */
class AdcMonitorTask : public os::task<AdcMonitorTask, 2048> {
private:
    // Список параметров выносим в статические данные класса
    static inline const uint8_t param_names[] = {
        AIN_AO1, AIN_AO7, AIN_AO13, AIN_AVsense1,
        AIN_AO2, AIN_AO8, AIN_AO14, AIN_AVsense2,    
        AIN_AO3, AIN_AO9, AIN_AO15, AIN_AVsense3,        
        AIN_AO4, AIN_AO10, AIN_AO16, AIN_AVsense4,
        AIN_AO5, AIN_AO11, AIN_AO17, AIN_AVsense5,
        AIN_AO6, AIN_AO12, AIN_AO18, AIN_AVsense6,
        AIN_DA11_test1, AIN_DA20_test1, AIN_DA33_test1, AIN_DA44_test1,
        AIN_DA11_test2, AIN_DA20_test2, AIN_DA33_test2, AIN_DA44_test2, 
    };

public:
    // Конструктор инициализирует базовый класс (имя задачи, приоритет)
    AdcMonitorTask() : os::task<AdcMonitorTask, 2048>(
        "adc_mon", 
        os::priority::low, // Приоритет 11 в Си-коде соответствует low/normal
        os::opt::start     // Запускать сразу после создания объекта
    ) {}

    /**
     * @brief Основная логика задачи.
     * Аналог функции adc_monitor_thread_fn.
     */
    void task_func() {
        LOG_INF("Starting State-Reader ADC Monitor (C++ Task)...");

        while (true) {
            // Используем метод sleep из базового класса (обертка над k_msleep)
            sleep(3000);

           // PARAM_VAL val[4];
           // LOG_INF("=== [Zbus State Monitor] 32 Channels Test Pattern ===");
            
            for (int step = 0; step < 8; step++) {
                int ret = 0;

                // Получаем 4 канала за итерацию
          /*      for(int i = 0; i < 4; i++) {
                    ret |= param_get((PARAM_ID)param_names[step * 4 + i], &val[i]);
                }

                if (ret == 0) {
                    uint32_t vref1 = (uint32_t)val[0].value.integer;
                    int32_t temp1  = (int32_t)val[1].value.integer;
                    uint32_t vref2 = (uint32_t)val[2].value.integer;
                    int32_t temp2  = (int32_t)val[3].value.integer;

                    LOG_INF("Step %d | VREF: %u mV | Temp: %d C | VREF: %u mV | Temp: %d C",
                            step, vref1, temp1, vref2, temp2);
                } else {
                    LOG_WRN("Step %d | Data is not ready yet.", step);
                }
            }
        }*/
    }
};

// Глобальный (или статический) экземпляр задачи. 
// В C++ конструктор вызовется автоматически, и поток запустится сам.
static AdcMonitorTask adc_monitor_inst __attribute__((section(".dtcm_bss")));;
```

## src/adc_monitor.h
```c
#pragma once

#ifdef __cplusplus
extern "C" {
#endif

int adc_monitor_thread_start(void);

#ifdef __cplusplus
}
#endif
```

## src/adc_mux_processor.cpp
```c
#include "adc_mux_processor.hpp"
#include "coorutines.hpp" // Теперь подключаем полную реализацию корутин для компиляции
#include <zephyr/logging/log.h>
#include "seq_adc_processor.h"


LOG_MODULE_REGISTER(adc_mux_processor, LOG_LEVEL_INF);
// Объявляем, что физически очередь сообщений находится в другом месте (в main.cpp)

// 1. Создаем обычную статическую функцию для вывода лога старта.
// Так как это не корутина, компилятор GCC соберет макрос LOG_INF идеально!
static void log_daemon_started() {
    LOG_INF("Sensor bridge daemon started successfully in separate module!");
}

// 2. Создаем обычную функцию для вывода лога данных
static void log_sensor_data(uint16_t adc_val) {
    LOG_INF("Successfully processed ADC value: %u", adc_val);
}


extern struct k_msgq drv_sensor_msgq;


// Определение единого канала обработанных данных
ZBUS_CHAN_DEFINE(adc_processed_chan,
                 adc_processed_msg_t,
                 NULL,                 /* Без валидатора */
                 NULL,                 /* Без метаданных */
                 ZBUS_OBSERVERS_EMPTY, /* Список статических наблюдателей пуст */
                 ZBUS_MSG_INIT(0)      /* Инициализация нулями */
);

// Реализация корутины
os::DetachedTask<SensorDispatcher> sensor_bridge_daemon(SensorDispatcher& disp) 
{

    seq_mux_adc_msg_t temp_msgq;
    log_daemon_started();

    while (true) {
        // Асинхронно ждем данные из очереди через лаконичный метод диспетчера
        co_await disp.wait_queue(&drv_sensor_msgq, temp_msgq);
        (void)zbus_chan_pub(&adc_processed_chan, &temp_msgq, K_NO_WAIT);
        // Просто выводим полученное значение для проверки работы
        // LOG_INF("Successfully processed ADC value: %u", raw.adc_val);
    }
}
```

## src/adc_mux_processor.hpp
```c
#pragma once
#include <cstddef>
#include <stdint.h>

// МЫ НЕ ПОДКЛЮЧАЕМ "coorutines.hpp" здесь!

namespace os {
    // Предварительное объявление шаблона Dispatcher в пространстве имен os
    template <int MaxEvents, std::size_t PoolSize, std::size_t StackSize>
    class Dispatcher;

    // Предварительное объявление шаблона DetachedTask в пространстве имен os
    template <typename DispatcherType>
    struct DetachedTask;
}

// Конфигурируем и объявляем тип нашего диспетчера SensorDispatcher.
// 1088 байт стека = 1024 базовый стек + 4 события * 16 байт под k_poll_event.
using SensorDispatcher = os::Dispatcher<4, 2048, 1088>;

// Структура сырых данных
struct SensorRawData {
    uint16_t adc_val;
};

// Объявляем сигнатуру нашей функции корутины-моста
os::DetachedTask<SensorDispatcher> sensor_bridge_daemon(SensorDispatcher& disp);
```

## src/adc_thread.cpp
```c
#include <zephyr/kernel.h>
#include "adc_thread.h"
#include <zephyr/logging/log.h>
#include <zephyr/zbus/zbus.h>
#include "global_params.h"
#include "os.h"
#include "mediator.hpp"
/* Подключаем публичный заголовочный файл нашего драйвера */
#include <seq_mux_adc.h>


static const uint32_t r1_resistors[TOTAL_CHANNEL_COUNT] = {
    10000,  10000,  10000,  10000,  // Шаг 0 (AO1, AO7, AO13, AVsense1)
    10000,  10000,  10000,  10000,  // Шаг 1 (AO2, AO8, AO14, AVsense2)
    10000,  10000,  10000,  10000,  // Шаг 2 (AO3 ...)
    10000,  10000,  10000,  10000,  // Шаг 3
    10000,  10000,  10000,  10000,  // Шаг 4
    10000,  10000,  10000,  10000,  // Шаг 5
    47000,  47000,  47000,  47000,  // Шаг 6 (Тестовые каналы DA11..DA44 T1)
    100000, 100000, 100000, 100000  // Шаг 7 (Тестовые каналы DA11..DA44 T2)
};

static const uint32_t r2_resistors[TOTAL_CHANNEL_COUNT] = {
    10000, 10000, 10000, 10000,
    10000, 10000, 10000, 10000,
    10000, 10000, 10000, 10000,
    10000, 10000, 10000, 10000,
    10000, 10000, 10000, 10000,
    10000, 10000, 10000, 10000,
    10000, 10000, 10000, 10000,
    10000, 10000, 10000, 10000
};

static float coefficients[TOTAL_CHANNEL_COUNT];


MEDIATOR_ELEMENT_DEFINE(PARAM_VAL, AIN_AO1, {0});
MEDIATOR_ELEMENT_DEFINE(PARAM_VAL, AIN_AO7, {0});
MEDIATOR_ELEMENT_DEFINE(PARAM_VAL, AIN_AO13, {0});
MEDIATOR_ELEMENT_DEFINE(PARAM_VAL, AIN_AVsense1, {0});
MEDIATOR_ELEMENT_DEFINE(PARAM_VAL, AIN_AO2, {0});
MEDIATOR_ELEMENT_DEFINE(PARAM_VAL, AIN_AO8, {0});
MEDIATOR_ELEMENT_DEFINE(PARAM_VAL, AIN_AO14, {0});
MEDIATOR_ELEMENT_DEFINE(PARAM_VAL, AIN_AVsense2, {0});
MEDIATOR_ELEMENT_DEFINE(PARAM_VAL, AIN_AO3, {0});
MEDIATOR_ELEMENT_DEFINE(PARAM_VAL, AIN_AO9, {0});
MEDIATOR_ELEMENT_DEFINE(PARAM_VAL, AIN_AO15, {0});
MEDIATOR_ELEMENT_DEFINE(PARAM_VAL, AIN_AVsense3, {0});
MEDIATOR_ELEMENT_DEFINE(PARAM_VAL, AIN_AO4, {0});
MEDIATOR_ELEMENT_DEFINE(PARAM_VAL, AIN_AO10, {0});
MEDIATOR_ELEMENT_DEFINE(PARAM_VAL, AIN_AO16, {0});
MEDIATOR_ELEMENT_DEFINE(PARAM_VAL, AIN_AVsense4, {0});
MEDIATOR_ELEMENT_DEFINE(PARAM_VAL, AIN_AO5, {0});
MEDIATOR_ELEMENT_DEFINE(PARAM_VAL, AIN_AO11, {0});
MEDIATOR_ELEMENT_DEFINE(PARAM_VAL, AIN_AO17, {0});
MEDIATOR_ELEMENT_DEFINE(PARAM_VAL, AIN_AVsense5, {0});
MEDIATOR_ELEMENT_DEFINE(PARAM_VAL, AIN_AO6, {0});
MEDIATOR_ELEMENT_DEFINE(PARAM_VAL, AIN_AO12, {0});
MEDIATOR_ELEMENT_DEFINE(PARAM_VAL, AIN_AO18, {0});
MEDIATOR_ELEMENT_DEFINE(PARAM_VAL, AIN_AVsense6, {0});


LOG_MODULE_REGISTER(seq_mux_adc_drv, LOG_LEVEL_INF);

/* Получаем указатель на наш прибор из дерева устройств */





/* Функция-помощник для считывания сырого опорного VREFINT для конкретного шага */
static uint32_t get_vref_raw(const struct device *dev, uint8_t step)
{
    struct seq_mux_adc_api *api = (struct seq_mux_adc_api *)dev->api;
    uint32_t raw_vref = 0;
    // Опорное напряжение VREFINT находится на 2-м канале (индекс step * 4 + 1)
    api->get_channel_value(dev, step * 4 + 1, &raw_vref);
    return raw_vref;
}

class AdcTask : public os::task<AdcTask, AIN_TASK_STACK_SIZE> {
public:
    // Конструктор: инициализирует базовый класс и рассчитывает коэффициенты
    AdcTask();

    // Основной цикл задачи
    void task_func();


 
};


AdcTask::AdcTask() : os::task<AdcTask, AIN_TASK_STACK_SIZE>(
    "adc_pub", 
    static_cast<os::priority>(AIN_TASK_PRIORITY),
    os::opt::start // Не запускаем сразу, ждем вызова из ain_thread_start или системного init
) {
    // Рассчитываем коэффициенты делителей один раз
    for (int i = 0; i < TOTAL_CHANNEL_COUNT; i++) {
        coefficients[i] = (float)(r1_resistors[i] + r2_resistors[i]) / (float)r2_resistors[i];
    }
}


void AdcTask::task_func()
{
static const struct device *const seq_dev = DEVICE_DT_GET(DT_NODELABEL(my_sequencer));
  // Проверяем готовность драйвера перед началом работы
    if (!device_is_ready(seq_dev)) {
         LOG_ERR("Sequencer driver is not ready!");
        return;
    }

    /* Извлекаем интерфейс высокоуровневого API нашего драйвера */
    struct seq_mux_adc_api *api = (struct seq_mux_adc_api *)seq_dev->api;
    struct adc_data_msg msg; 
    
    LOG_INF("Starting ADC3 Real-Time Publisher Thread...");
    k_sleep(K_MSEC(2000));
    
     while (1) {
        // Ждем готовности на семафоре драйвера (весь цикл 32 пересылок окончен)
        int ret = api->wait_for_data(seq_dev, K_FOREVER);
        if (ret < 0) {
            LOG_ERR("Failed to wait for data! Error: %d", ret);
            continue;
        }

        // Выполняем тестовое заполнение буфера
        for (int step = 0; step < 8; step++) {
            uint32_t raw_vref = get_vref_raw(seq_dev, step);
            uint32_t raw_temp = 0;
            api->get_channel_value(seq_dev, step * 4 + 0, &raw_temp); // Датчик температуры — на 1 канале шага (индекс step * 4 + 0)

            // Защита от деления на ноль при неготовности данных
            if (raw_vref == 0 || raw_temp == 0) {
                continue;
            }

            // Вычисляем VDDA (VREF) и Температуру для текущего шага мультиплексора
            uint32_t vdda_mv = __LL_ADC_CALC_VREFANALOG_VOLTAGE(raw_vref, LL_ADC_RESOLUTION_12B);
            int32_t temp_c = __LL_ADC_CALC_TEMPERATURE(vdda_mv, raw_temp, LL_ADC_RESOLUTION_12B);

            uint32_t temp_val = (uint32_t)(temp_c < 0 ? -temp_c : temp_c);


            if (step == 0) {
                msg.vdda_mv = vdda_mv;
                msg.raw_temp = raw_temp;
            }

            PARAM_VAL mediator_msg_mv;
            mediator_msg_mv.value.integer =  vdda_mv;
            PARAM_VAL mediator_msg_tmp;
            mediator_msg_tmp.value.integer = temp_c;
            
           
            os::mediator((PARAM_ID)(AIN_AO1 + step * 4 + 1)).set(mediator_msg_tmp);
            os::mediator((PARAM_ID)(AIN_AO1 + step * 4 + 3)).set(mediator_msg_tmp);                  
            os::mediator((PARAM_ID)(AIN_AO1 + step * 4 + 0) ).set(mediator_msg_mv);
            os::mediator((PARAM_ID)(AIN_AO1 + step * 4 + 2 )).set(mediator_msg_mv);
              
            
            /* 
             * РЕАЛЬНЫЙ КОД ДЛЯ ПРИВЕДЕНИЯ К НАПРЯЖЕНИЮ (закомментирован для тестов по запросу):
             *
             * for (int ch = 0; ch < 4; ch++) {
             *     uint8_t ch_idx = step * 4 + ch;
             *     uint32_t raw_val = 0;
             *     api->get_channel_value(seq_dev, ch_idx, &raw_val);
             *     float v_pin_mv = (float)(raw_val * vdda_mv) / 4095.0f;
             *     msg.channels_mv[ch_idx] = (uint32_t)(v_pin_mv * coefficients[ch_idx]);
             * }
             */
        }

    
    }
}

// РАЗМЕЩЕНИЕ В DTCM: Создаем статический объект задачи в секции быстрой памяти
static AdcTask adc_task_inst;
```

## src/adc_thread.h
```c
#pragma once
#ifdef __cplusplus
extern "C" {
#endif



#include "stdint.h"


#define COMBINATIONS_COUNT 8

#define ADC_NUM_CHANNELS   5
#define ADC_SAMPLES_PER_CH 8
#define ADC_BUF_SIZE       (ADC_NUM_CHANNELS * ADC_SAMPLES_PER_CH)
#define TOTAL_CHANNEL_COUNT ADC_BUF_SIZE 

#define ADC2_BUF_SIZE  8

/* Структура сообщения АЦП */
typedef struct adc_data_msg {
    float channels_mv[TOTAL_CHANNEL_COUNT]; // Наш тестовый буфер (8 шагов * 2 канала)
};

typedef struct adc_scan_msg {
    float channels_mv[ADC2_BUF_SIZE]; // Наш тестовый буфер (8 шагов * 2 канала)
};

#ifdef __cplusplus
}
#endif
```
